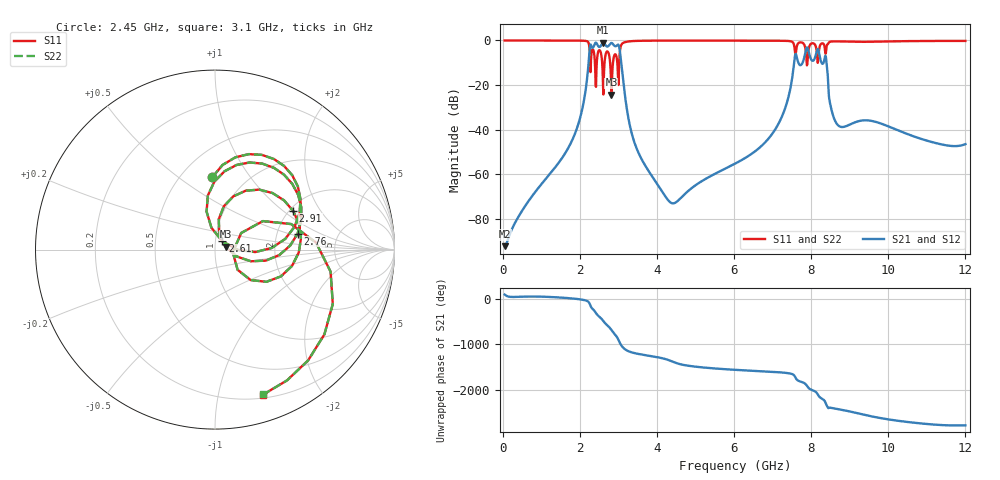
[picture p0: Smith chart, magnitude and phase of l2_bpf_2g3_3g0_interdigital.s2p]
! kicad2ems mom25d 2.5D MoM (f)
! ports: 1=P1, 2=P2
# Hz S RI R 50
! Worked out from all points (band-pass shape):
!   1196 points, 50 MHz to 12 GHz, reference 50 ohm
!   highest |S21| = -0.97 dB at 2.61 GHz (marker M1); lowest = -92.2 dB at 50 MHz (marker M2)
!   |S21| within 3 dB of the highest: 2.257 GHz to 3.032 GHz (775.6 MHz wide, 29.3 % of centre); 7.87 GHz to 7.919 GHz (48.89 MHz wide, 0.619 % of centre)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
!   lowest |S11| = -24.3 dB at 2.82 GHz (marker M3), VSWR 1.13, Z = 56.2 + j1.85 ohm
!   |S11| at or under -10 dB: 2.392 GHz to 2.441 GHz (48.88 MHz wide, 2.02 % of centre); 2.58 GHz to 2.642 GHz (61.78 MHz wide, 2.37 % of centre); 2.786 GHz to 2.86 GHz (74.41 MHz wide, 2.64 % of centre)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
!   |S22| runs from -24.3 to 0.0 dB; largest |S21 - S12| = 2e-07
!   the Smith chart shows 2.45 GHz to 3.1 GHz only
!   S11 on the Smith chart (normalised r, x): 2.45 GHz: 0.70, +0.67; 2.61 GHz: 1.08, +0.10; 2.76 GHz: 2.61, +0.59; 2.91 GHz: 2.09, +1.18; 3.1 GHz: 0.23, -1.36
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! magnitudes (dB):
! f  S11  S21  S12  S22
! 50 MHz  0.0  -92.2  -92.2  0.0
! 1.49 GHz  0.0  -53.9  -53.9  0.0
! 2.05 GHz  -0.1  -31.8  -31.8  -0.1
! 2.28 GHz  -14.2  -1.8  -1.8  -14.2
! 2.45 GHz  -7.9  -1.7  -1.7  -7.9
! 2.61 GHz  -24.2  -1.0  -1.0  -24.2
! 2.76 GHz  -6.6  -2.2  -2.2  -6.6
! 2.82 GHz  -24.3  -1.1  -1.1  -24.3
! 2.91 GHz  -6.3  -2.5  -2.5  -6.3
! 3.1 GHz  -1.4  -14.3  -14.3  -1.4
! 3.4 GHz  -0.3  -44.8  -44.8  -0.3
! 4.04 GHz  -0.1  -65.2  -65.2  -0.1
! 4.45 GHz  -0.1  -72.9  -72.9  -0.1
! 6.03 GHz  -0.1  -55.2  -55.2  -0.1
! 7.11 GHz  -0.1  -38.6  -38.6  -0.1
! 7.6 GHz  -6.1  -6.0  -6.0  -6.1
! 8.02 GHz  -1.3  -9.0  -9.0  -1.3
! 8.37 GHz  -5.9  -6.8  -6.8  -5.9
! 8.51 GHz  -0.5  -29.8  -29.8  -0.5
! 8.71 GHz  -0.4  -38.2  -38.2  -0.4
! 10.01 GHz  -0.4  -38.5  -38.5  -0.4
! 12 GHz  -0.2  -46.4  -46.4  -0.2
